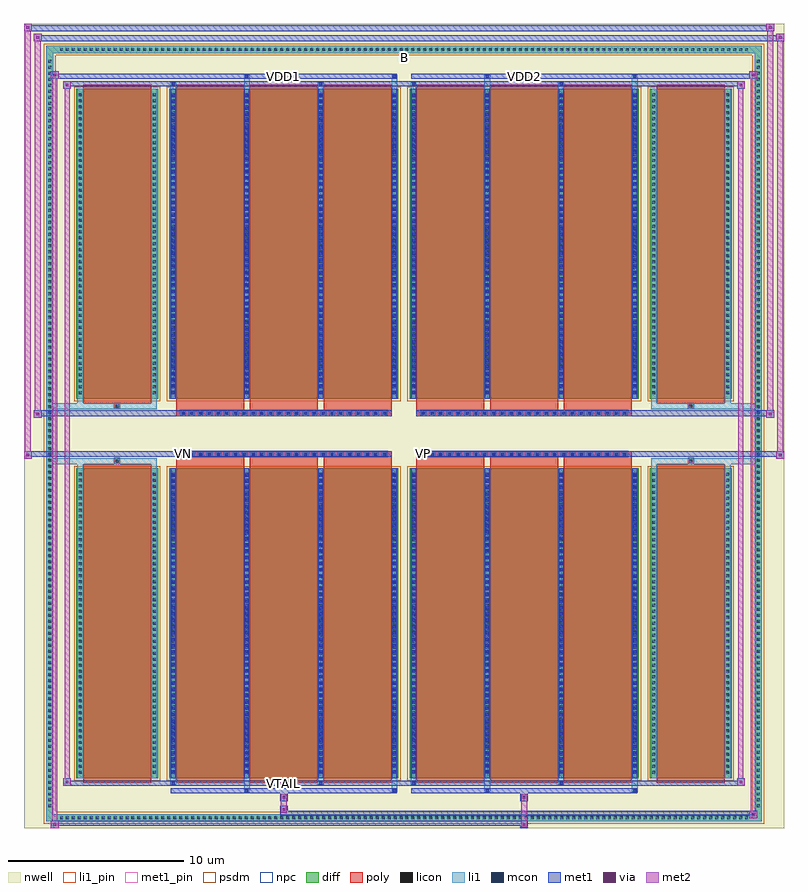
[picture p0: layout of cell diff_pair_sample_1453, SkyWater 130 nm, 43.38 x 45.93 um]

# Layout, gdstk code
import gdstk
lib = gdstk.Library(unit=1e-6, precision=5e-09)
def R(c, l, rs):  # rectangles x0, y0, x1, y1
    for r in rs: c.add(gdstk.rectangle(r[:2], r[2:], *l))
def A(c, l, x, y, w, h, nx, ny, dx, dy):  # array of equal rectangles
    R(c, l, [(x+i*dx, y+j*dy, x+i*dx+w, y+j*dy+h) for i in range(nx) for j in range(ny)])
def P(c, l, *ps):  # polygons
    for p in ps: c.add(gdstk.Polygon(p, *l))
nwell = (64, 20)
diff = (65, 20)
poly = (66, 20)
licon = (66, 44)
li1_pin = (67, 16)
li1 = (67, 20)
mcon = (67, 44)
met1_pin = (68, 16)
met1 = (68, 20)
via = (68, 44)
met2 = (69, 20)
psdm = (94, 20)
npc = (95, 20)

diff_pair_sample_1453 = lib.new_cell('diff_pair_sample_1453')
R(diff_pair_sample_1453, nwell, [(-21.69,-22.53,21.69,23.4), (-19.01,-20.72,-0.01,-0.8), (0.01,-20.72,19.01,-0.8), (-19.01,0.8,-0.01,20.72), (0.01,0.8,19.01,20.72)])
A(diff_pair_sample_1453, diff, -19.755, -22.13, 0.41, 0.41, 116, 2, 0.34, 43.85)
A(diff_pair_sample_1453, diff, -20.42, -21.455, 0.41, 0.41, 1, 126, 0, 0.34)
A(diff_pair_sample_1453, diff, 20.01, -21.455, 0.41, 0.41, 1, 126, 0, 0.34)
R(diff_pair_sample_1453, diff, [(-19.755,-22.13,19.755,-21.72), (-20.42,-21.455,-20.01,21.455), (20.01,-21.455,20.42,21.455), (-18.7,-19.675,-14.04,-1.985), (-13.4,-19.675,-0.32,-1.985), (0.32,-19.675,13.4,-1.985), (14.04,-19.675,18.7,-1.985), (-18.7,1.985,-14.04,19.675), (-13.4,1.985,-0.32,19.675), (0.32,1.985,13.4,19.675), (14.04,1.985,18.7,19.675), (-19.755,21.72,19.755,22.13)])
P(diff_pair_sample_1453, diff, [(20.42,22.13),(-20.42,22.13),(-20.42,-21.72),(-20.01,-21.72),(-20.01,21.72),(20.01,21.72),(20.01,-21.72),(-20.01,-21.72),(-20.42,-21.72),(-20.42,-22.13),(20.42,-22.13)])
A(diff_pair_sample_1453, poly, -13.01, -19.925, 3.88, 18.19, 3, 2, 4.21, 21.66)
A(diff_pair_sample_1453, poly, 0.71, -19.925, 3.88, 18.19, 3, 2, 4.21, 21.66)
A(diff_pair_sample_1453, poly, -13.01, -1.735, 3.88, 0.405, 3, 2, 4.21, 3.065)
A(diff_pair_sample_1453, poly, 0.71, -1.735, 3.88, 0.405, 3, 2, 4.21, 3.065)
A(diff_pair_sample_1453, poly, -12.775, -1.33, 0.33, 0.33, 24, 2, 0.5, 2.33)
A(diff_pair_sample_1453, poly, 0.945, -1.33, 0.33, 0.33, 24, 2, 0.5, 2.33)
R(diff_pair_sample_1453, poly, [(-18.31,-19.925,-14.43,-1.735), (14.43,-19.925,18.31,-1.735), (-16.535,-1.735,-16.205,-1.405), (-16.535,-1.735,-16.205,-1.405), (16.205,-1.735,16.535,-1.405), (16.205,-1.735,16.535,-1.405), (-13.01,-1.33,-0.71,-1), (0.71,-1.33,13.01,-1), (-13.01,1,-0.71,1.33), (0.71,1,13.01,1.33), (-16.535,1.405,-16.205,1.735), (-16.535,1.405,-16.205,1.735), (16.205,1.405,16.535,1.735), (16.205,1.405,16.535,1.735), (-18.31,1.735,-14.43,19.925), (14.43,1.735,18.31,19.925)])
A(diff_pair_sample_1453, licon, -19.635, -22.01, 0.17, 0.17, 116, 2, 0.34, 43.85)
A(diff_pair_sample_1453, licon, -20.3, -21.335, 0.17, 0.17, 1, 126, 0, 0.34)
A(diff_pair_sample_1453, licon, 20.13, -21.335, 0.17, 0.17, 1, 126, 0, 0.34)
A(diff_pair_sample_1453, licon, -18.56, -19.415, 0.17, 0.17, 1, 51, 0, 0.34)
A(diff_pair_sample_1453, licon, -14.35, -19.415, 0.17, 0.17, 1, 51, 0, 0.34)
A(diff_pair_sample_1453, licon, -13.26, -19.415, 0.17, 0.17, 4, 51, 4.21, 0.34)
A(diff_pair_sample_1453, licon, 0.46, -19.415, 0.17, 0.17, 4, 51, 4.21, 0.34)
A(diff_pair_sample_1453, licon, 14.18, -19.415, 0.17, 0.17, 1, 51, 0, 0.34)
A(diff_pair_sample_1453, licon, 18.39, -19.415, 0.17, 0.17, 1, 51, 0, 0.34)
A(diff_pair_sample_1453, licon, -12.695, -1.25, 0.17, 0.17, 24, 2, 0.5, 2.33)
A(diff_pair_sample_1453, licon, 1.025, -1.25, 0.17, 0.17, 24, 2, 0.5, 2.33)
A(diff_pair_sample_1453, licon, -18.56, 2.245, 0.17, 0.17, 1, 51, 0, 0.34)
A(diff_pair_sample_1453, licon, -14.35, 2.245, 0.17, 0.17, 1, 51, 0, 0.34)
A(diff_pair_sample_1453, licon, -13.26, 2.245, 0.17, 0.17, 4, 51, 4.21, 0.34)
A(diff_pair_sample_1453, licon, 0.46, 2.245, 0.17, 0.17, 4, 51, 4.21, 0.34)
A(diff_pair_sample_1453, licon, 14.18, 2.245, 0.17, 0.17, 1, 51, 0, 0.34)
A(diff_pair_sample_1453, licon, 18.39, 2.245, 0.17, 0.17, 1, 51, 0, 0.34)
R(diff_pair_sample_1453, licon, [(-16.455,-1.655,-16.285,-1.485), (16.285,-1.655,16.455,-1.485), (-16.455,1.485,-16.285,1.655), (16.285,1.485,16.455,1.655)])
R(diff_pair_sample_1453, li1_pin, [(-0.25,21.22,0.25,21.72)])
A(diff_pair_sample_1453, li1, -19.715, -22.09, 0.33, 0.33, 116, 2, 0.34, 43.85)
A(diff_pair_sample_1453, li1, -20.38, -21.415, 0.33, 0.33, 1, 126, 0, 0.34)
A(diff_pair_sample_1453, li1, 20.05, -21.415, 0.33, 0.33, 1, 126, 0, 0.34)
A(diff_pair_sample_1453, li1, -13.34, -19.675, 0.33, 17.69, 4, 2, 4.21, 21.66)
A(diff_pair_sample_1453, li1, 0.38, -19.675, 0.33, 17.69, 4, 2, 4.21, 21.66)
A(diff_pair_sample_1453, li1, -18.64, -19.495, 0.33, 0.33, 1, 51, 0, 0.34)
A(diff_pair_sample_1453, li1, -14.43, -19.495, 0.33, 0.33, 1, 51, 0, 0.34)
A(diff_pair_sample_1453, li1, -13.34, -19.495, 0.33, 0.33, 4, 51, 4.21, 0.34)
A(diff_pair_sample_1453, li1, 0.38, -19.495, 0.33, 0.33, 4, 51, 4.21, 0.34)
A(diff_pair_sample_1453, li1, 14.1, -19.495, 0.33, 0.33, 1, 51, 0, 0.34)
A(diff_pair_sample_1453, li1, 18.31, -19.495, 0.33, 0.33, 1, 51, 0, 0.34)
A(diff_pair_sample_1453, li1, -13.26, -19.375, 0.17, 0.17, 4, 48, 4.21, 0.36)
A(diff_pair_sample_1453, li1, -13.26, -19.375, 0.17, 17.09, 4, 2, 4.21, 21.66)
A(diff_pair_sample_1453, li1, 0.46, -19.375, 0.17, 0.17, 4, 48, 4.21, 0.36)
A(diff_pair_sample_1453, li1, 0.46, -19.375, 0.17, 17.09, 4, 2, 4.21, 21.66)
A(diff_pair_sample_1453, li1, -12.775, -1.33, 0.33, 0.33, 24, 2, 0.5, 2.33)
A(diff_pair_sample_1453, li1, 0.945, -1.33, 0.33, 0.33, 24, 2, 0.5, 2.33)
A(diff_pair_sample_1453, li1, -18.64, 2.165, 0.33, 0.33, 1, 51, 0, 0.34)
A(diff_pair_sample_1453, li1, -14.43, 2.165, 0.33, 0.33, 1, 51, 0, 0.34)
A(diff_pair_sample_1453, li1, -13.34, 2.165, 0.33, 0.33, 4, 51, 4.21, 0.34)
A(diff_pair_sample_1453, li1, 0.38, 2.165, 0.33, 0.33, 4, 51, 4.21, 0.34)
A(diff_pair_sample_1453, li1, 14.1, 2.165, 0.33, 0.33, 1, 51, 0, 0.34)
A(diff_pair_sample_1453, li1, 18.31, 2.165, 0.33, 0.33, 1, 51, 0, 0.34)
A(diff_pair_sample_1453, li1, -13.26, 2.285, 0.17, 0.17, 4, 48, 4.21, 0.36)
A(diff_pair_sample_1453, li1, 0.46, 2.285, 0.17, 0.17, 4, 48, 4.21, 0.36)
R(diff_pair_sample_1453, li1, [(-20.42,-22.13,-20.01,-21.72), (-20.42,-22.13,-20.01,-21.72), (-20.01,-22.13,20.01,-21.72), (20.01,-22.13,20.42,-21.72), (20.01,-22.13,20.42,-21.72), (-20.42,-21.72,-20.01,21.72), (20.01,-21.72,20.42,21.72), (-9.13,-20.48,-8.8,-19.675), (-9.05,-20.48,-8.88,-20.31), (-0.71,-20.48,-0.38,-19.675), (-0.63,-20.48,-0.46,-20.31), (4.59,-20.48,4.92,-19.675), (4.67,-20.48,4.84,-20.31), (13.01,-20.48,13.34,-19.675), (13.09,-20.48,13.26,-20.31), (-13.34,-20.05,-13.01,-19.675), (-13.26,-20.05,-13.09,-19.88), (-4.92,-20.05,-4.59,-19.675), (-4.84,-20.05,-4.67,-19.88), (0.38,-20.05,0.71,-19.675), (0.46,-20.05,0.63,-19.88), (8.8,-20.05,9.13,-19.675), (8.88,-20.05,9.05,-19.88), (-18.64,-19.675,-18.31,-1.985), (-14.43,-19.675,-14.1,-1.985), (14.1,-19.675,14.43,-1.985), (18.31,-19.675,18.64,-1.985), (-18.64,-1.985,-18.31,-1.405), (-14.43,-1.985,-14.1,-1.405), (14.1,-1.985,14.43,-1.405), (18.31,-1.985,18.64,-1.405), (-20.42,-1.735,-16.535,-1.405), (-18.64,-1.735,-16.535,-1.405), (-16.535,-1.735,-16.205,-1.405), (-16.205,-1.735,-14.1,-1.405), (14.1,-1.735,16.205,-1.405), (16.205,-1.735,16.535,-1.405), (16.205,-1.735,20.42,-1.405), (16.535,-1.735,18.64,-1.405), (-20.42,1.405,-16.535,1.735), (-18.64,1.405,-16.535,1.735), (-18.64,1.405,-18.31,1.985), (-16.535,1.405,-16.205,1.735), (-16.205,1.405,-14.1,1.735), (-14.43,1.405,-14.1,1.985), (14.1,1.405,16.205,1.735), (14.1,1.405,14.43,1.985), (16.205,1.405,16.535,1.735), (16.205,1.405,20.42,1.735), (16.535,1.405,18.64,1.735), (18.31,1.405,18.64,1.985), (-18.64,1.985,-18.31,19.675), (-14.43,1.985,-14.1,19.675), (14.1,1.985,14.43,19.675), (18.31,1.985,18.64,19.675), (-13.34,19.675,-13.01,20.05), (-9.13,19.675,-8.8,20.48), (-4.92,19.675,-4.59,20.05), (-0.71,19.675,-0.38,20.48), (0.38,19.675,0.71,20.05), (4.59,19.675,4.92,20.48), (8.8,19.675,9.13,20.05), (13.01,19.675,13.34,20.48), (-13.26,19.88,-13.09,20.05), (-4.84,19.88,-4.67,20.05), (0.46,19.88,0.63,20.05), (8.88,19.88,9.05,20.05), (-9.05,20.31,-8.88,20.48), (-0.63,20.31,-0.46,20.48), (4.67,20.31,4.84,20.48), (13.09,20.31,13.26,20.48), (-20.42,21.72,-20.01,22.13), (-20.42,21.72,-20.01,22.13), (-20.01,21.72,20.01,22.13), (20.01,21.72,20.42,22.13), (20.01,21.72,20.42,22.13)])
A(diff_pair_sample_1453, mcon, -13.26, -19.375, 0.17, 0.17, 4, 48, 4.21, 0.36)
A(diff_pair_sample_1453, mcon, 0.46, -19.375, 0.17, 0.17, 4, 48, 4.21, 0.36)
A(diff_pair_sample_1453, mcon, -12.695, -1.25, 0.17, 0.17, 24, 2, 0.5, 2.33)
A(diff_pair_sample_1453, mcon, 1.025, -1.25, 0.17, 0.17, 24, 2, 0.5, 2.33)
A(diff_pair_sample_1453, mcon, -13.26, 2.285, 0.17, 0.17, 4, 48, 4.21, 0.36)
A(diff_pair_sample_1453, mcon, 0.46, 2.285, 0.17, 0.17, 4, 48, 4.21, 0.36)
R(diff_pair_sample_1453, mcon, [(-9.05,-20.48,-8.88,-20.31), (-0.63,-20.48,-0.46,-20.31), (4.67,-20.48,4.84,-20.31), (13.09,-20.48,13.26,-20.31), (-13.26,-20.05,-13.09,-19.88), (-4.84,-20.05,-4.67,-19.88), (0.46,-20.05,0.63,-19.88), (8.88,-20.05,9.05,-19.88), (-13.26,19.88,-13.09,20.05), (-4.84,19.88,-4.67,20.05), (0.46,19.88,0.63,20.05), (8.88,19.88,9.05,20.05), (-9.05,20.31,-8.88,20.48), (-0.63,20.31,-0.46,20.48), (4.67,20.31,4.84,20.48), (13.09,20.31,13.26,20.48)])
R(diff_pair_sample_1453, met1_pin, [(-6.995,-20.09,-6.725,-19.82), (-12.745,-1.29,-12.475,-1.02), (0.975,-1.29,1.245,-1.02), (-6.995,20.27,-6.725,20.54), (6.725,20.27,6.995,20.54)])
A(diff_pair_sample_1453, met1, -13.32, -19.675, 0.29, 17.69, 4, 2, 4.21, 21.66)
A(diff_pair_sample_1453, met1, 0.4, -19.675, 0.29, 17.69, 4, 2, 4.21, 21.66)
A(diff_pair_sample_1453, met1, -13.32, -19.435, 0.29, 0.29, 4, 48, 4.21, 0.36)
A(diff_pair_sample_1453, met1, 0.4, -19.435, 0.29, 0.29, 4, 48, 4.21, 0.36)
A(diff_pair_sample_1453, met1, -12.755, -1.31, 0.29, 0.29, 24, 2, 0.5, 2.33)
A(diff_pair_sample_1453, met1, 0.965, -1.31, 0.29, 0.29, 24, 2, 0.5, 2.33)
A(diff_pair_sample_1453, met1, -13.32, 2.225, 0.29, 0.29, 4, 48, 4.21, 0.36)
A(diff_pair_sample_1453, met1, 0.4, 2.225, 0.29, 0.29, 4, 48, 4.21, 0.36)
R(diff_pair_sample_1453, met1, [(-20.15,-22.53,-19.72,-22.1), (6.645,-22.53,7.075,-22.1), (-20.15,-22.39,7.075,-22.1), (19.72,-21.96,20.15,-21.53), (-7.075,-21.82,20.15,-21.53), (-7.075,-21.68,-6.645,-21.25), (-7.075,-20.97,-6.645,-20.54), (6.645,-20.97,7.075,-20.54), (-13.32,-20.54,-0.4,-20.25), (-9.11,-20.54,-8.82,-20.25), (-0.69,-20.54,-0.4,-20.25), (0.4,-20.54,13.32,-20.25), (4.61,-20.54,4.9,-20.25), (13.03,-20.54,13.32,-20.25), (-19.44,-20.11,-19.01,-19.68), (-19.44,-20.11,-13.32,-19.82), (-13.32,-20.11,-13.03,-19.82), (-13.32,-20.11,-0.4,-19.82), (-4.9,-20.11,-4.61,-19.82), (-0.4,-20.11,0.4,-19.82), (0.4,-20.11,0.69,-19.82), (0.4,-20.11,13.32,-19.82), (8.82,-20.11,9.11,-19.82), (13.32,-20.11,19.44,-19.82), (19.01,-20.11,19.44,-19.68), (-21.69,-1.43,-21.26,-1), (21.26,-1.43,21.69,-1), (-21.69,-1.33,-0.71,-1), (-13.01,-1.33,-0.71,-1), (0.71,-1.33,13.01,-1), (0.71,-1.33,21.69,-1), (-21.12,0.9,-20.69,1.33), (20.69,0.9,21.12,1.33), (-21.12,1,-13.01,1.33), (-13.01,1,-0.71,1.33), (0.71,1,13.01,1.33), (13.01,1,21.12,1.33), (-19.44,19.68,-19.01,20.11), (19.01,19.68,19.44,20.11), (-19.44,19.82,-13.32,20.11), (-13.32,19.82,-13.03,20.11), (-13.32,19.82,-0.4,20.11), (-4.9,19.82,-4.61,20.11), (-0.4,19.82,0.4,20.11), (0.4,19.82,0.69,20.11), (0.4,19.82,13.32,20.11), (8.82,19.82,9.11,20.11), (13.32,19.82,19.44,20.11), (-20.15,20.25,-19.72,20.68), (-20.15,20.25,-13.32,20.54), (-13.32,20.25,-0.4,20.54), (-9.11,20.25,-8.82,20.54), (-0.69,20.25,-0.4,20.54), (0.4,20.25,13.32,20.54), (4.61,20.25,4.9,20.54), (13.03,20.25,13.32,20.54), (13.32,20.25,20.15,20.54), (19.72,20.25,20.15,20.68), (-21.12,22.4,-20.69,22.83), (-21.12,22.4,-19.01,22.73), (-19.01,22.4,19.01,22.73), (19.01,22.4,21.69,22.73), (21.26,22.4,21.69,22.83), (-21.69,22.97,-21.26,23.4), (-21.69,22.97,-19.01,23.3), (-19.01,22.97,19.01,23.3), (19.01,22.97,21.12,23.3), (20.69,22.97,21.12,23.4)])
R(diff_pair_sample_1453, via, [(-20.01,-22.39,-19.86,-22.24), (6.785,-22.39,6.935,-22.24), (19.86,-21.82,20.01,-21.67), (-6.935,-21.54,-6.785,-21.39), (-6.935,-20.83,-6.785,-20.68), (6.785,-20.83,6.935,-20.68), (-19.3,-19.97,-19.15,-19.82), (19.15,-19.97,19.3,-19.82), (-21.55,-1.29,-21.4,-1.14), (21.4,-1.29,21.55,-1.14), (-20.98,1.04,-20.83,1.19), (20.83,1.04,20.98,1.19), (-19.3,19.82,-19.15,19.97), (19.15,19.82,19.3,19.97), (-20.01,20.39,-19.86,20.54), (19.86,20.39,20.01,20.54), (-20.98,22.54,-20.83,22.69), (21.4,22.54,21.55,22.69), (-21.55,23.11,-21.4,23.26), (20.83,23.11,20.98,23.26)])
R(diff_pair_sample_1453, met2, [(-20.15,-22.53,-19.72,-22.1), (-20.08,-22.53,-19.79,20.68), (-19.79,-22.53,-19.72,-22.1), (-20.1,-22.48,-19.77,-22.15), (6.695,-22.48,7.025,-22.15), (6.695,-22.15,7.025,-20.92), (19.72,-21.96,20.15,-21.53), (19.79,-21.96,20.08,20.68), (20.08,-21.96,20.15,-21.53), (19.77,-21.91,20.1,-21.58), (-7.025,-21.63,-6.695,-21.3), (-7.025,-21.3,-6.695,-20.92), (-7.025,-20.92,-6.695,-20.59), (6.695,-20.92,7.025,-20.59), (-19.44,-20.11,-19.01,-19.68), (-19.37,-20.11,-19.08,20.11), (-19.08,-20.11,-19.01,-19.68), (19.01,-20.11,19.44,-19.68), (19.08,-20.11,19.37,20.11), (19.37,-20.11,19.44,-19.68), (-19.39,-20.06,-19.06,-19.73), (19.06,-20.06,19.39,-19.73), (-21.69,-1.43,-21.26,-1), (-21.64,-1.43,-21.31,23.4), (-21.31,-1.43,-21.26,-1), (21.26,-1.43,21.69,-1), (21.31,-1.43,21.64,22.83), (21.64,-1.43,21.69,-1), (-21.64,-1.38,-21.31,-1.05), (21.31,-1.38,21.64,-1.05), (-21.12,0.9,-20.69,1.33), (-21.07,0.9,-20.74,22.83), (-20.74,0.9,-20.69,1.33), (20.69,0.9,21.12,1.33), (20.74,0.9,21.07,23.4), (21.07,0.9,21.12,1.33), (-21.07,0.95,-20.74,1.28), (20.74,0.95,21.07,1.28), (-19.44,19.68,-19.01,20.11), (-19.08,19.68,-19.01,20.11), (19.01,19.68,19.44,20.11), (19.37,19.68,19.44,20.11), (-19.39,19.73,-19.06,20.06), (19.06,19.73,19.39,20.06), (-20.15,20.25,-19.72,20.68), (-19.79,20.25,-19.72,20.68), (19.72,20.25,20.15,20.68), (20.08,20.25,20.15,20.68), (-20.1,20.3,-19.77,20.63), (19.77,20.3,20.1,20.63), (-21.12,22.4,-20.69,22.83), (-20.74,22.4,-20.69,22.83), (21.26,22.4,21.69,22.83), (21.64,22.4,21.69,22.83), (-21.07,22.45,-20.74,22.78), (21.31,22.45,21.64,22.78), (-21.69,22.97,-21.26,23.4), (-21.31,22.97,-21.26,23.4), (20.69,22.97,21.12,23.4), (21.07,22.97,21.12,23.4), (-21.64,23.02,-21.31,23.35), (20.74,23.02,21.07,23.35)])
R(diff_pair_sample_1453, psdm, [(-18.83,-19.805,-13.91,-1.855), (-13.53,-19.805,-0.19,-1.855), (0.19,-19.805,13.53,-1.855), (13.91,-19.805,18.83,-1.855), (-18.83,1.855,-13.91,19.805), (-13.53,1.855,-0.19,19.805), (0.19,1.855,13.53,19.805), (13.91,1.855,18.83,19.805)])
P(diff_pair_sample_1453, psdm, [(20.55,22.26),(-20.55,22.26),(-20.55,-21.59),(-19.88,-21.59),(-19.88,21.59),(19.88,21.59),(19.88,-21.59),(-19.88,-21.59),(-20.55,-21.59),(-20.55,-22.26),(20.55,-22.26)])
A(diff_pair_sample_1453, npc, -12.795, -1.35, 0.37, 0.37, 24, 2, 0.5, 2.33)
A(diff_pair_sample_1453, npc, 0.925, -1.35, 0.37, 0.37, 24, 2, 0.5, 2.33)
R(diff_pair_sample_1453, npc, [(-16.555,-1.755,-16.185,-1.385), (16.185,-1.755,16.555,-1.385), (-12.795,-1.35,-11.925,-0.98), (-12.795,-1.35,-11.925,-0.98), (-12.295,-1.35,-11.425,-0.98), (-12.295,-1.35,-11.425,-0.98), (-11.795,-1.35,-10.925,-0.98), (-11.795,-1.35,-10.925,-0.98), (-11.295,-1.35,-10.425,-0.98), (-11.295,-1.35,-10.425,-0.98), (-10.795,-1.35,-9.925,-0.98), (-10.795,-1.35,-9.925,-0.98), (-10.295,-1.35,-9.425,-0.98), (-10.295,-1.35,-9.425,-0.98), (-9.795,-1.35,-8.925,-0.98), (-9.795,-1.35,-8.925,-0.98), (-9.295,-1.35,-8.425,-0.98), (-9.295,-1.35,-8.425,-0.98), (-8.795,-1.35,-7.925,-0.98), (-8.795,-1.35,-7.925,-0.98), (-8.295,-1.35,-7.425,-0.98), (-8.295,-1.35,-7.425,-0.98), (-7.795,-1.35,-6.925,-0.98), (-7.795,-1.35,-6.925,-0.98), (-7.295,-1.35,-6.425,-0.98), (-7.295,-1.35,-6.425,-0.98), (-6.795,-1.35,-5.925,-0.98), (-6.795,-1.35,-5.925,-0.98), (-6.295,-1.35,-5.425,-0.98), (-6.295,-1.35,-5.425,-0.98), (-5.795,-1.35,-4.925,-0.98), (-5.795,-1.35,-4.925,-0.98), (-5.295,-1.35,-4.425,-0.98), (-5.295,-1.35,-4.425,-0.98), (-4.795,-1.35,-3.925,-0.98), (-4.795,-1.35,-3.925,-0.98), (-4.295,-1.35,-3.425,-0.98), (-4.295,-1.35,-3.425,-0.98), (-3.795,-1.35,-2.925,-0.98), (-3.795,-1.35,-2.925,-0.98), (-3.295,-1.35,-2.425,-0.98), (-3.295,-1.35,-2.425,-0.98), (-2.795,-1.35,-1.925,-0.98), (-2.795,-1.35,-1.925,-0.98), (-2.295,-1.35,-1.425,-0.98), (-2.295,-1.35,-1.425,-0.98), (-1.795,-1.35,-0.925,-0.98), (-1.795,-1.35,-0.925,-0.98), (0.925,-1.35,1.795,-0.98), (0.925,-1.35,1.795,-0.98), (1.425,-1.35,2.295,-0.98), (1.425,-1.35,2.295,-0.98), (1.925,-1.35,2.795,-0.98), (1.925,-1.35,2.795,-0.98), (2.425,-1.35,3.295,-0.98), (2.425,-1.35,3.295,-0.98), (2.925,-1.35,3.795,-0.98), (2.925,-1.35,3.795,-0.98), (3.425,-1.35,4.295,-0.98), (3.425,-1.35,4.295,-0.98), (3.925,-1.35,4.795,-0.98), (3.925,-1.35,4.795,-0.98), (4.425,-1.35,5.295,-0.98), (4.425,-1.35,5.295,-0.98), (4.925,-1.35,5.795,-0.98), (4.925,-1.35,5.795,-0.98), (5.425,-1.35,6.295,-0.98), (5.425,-1.35,6.295,-0.98), (5.925,-1.35,6.795,-0.98), (5.925,-1.35,6.795,-0.98), (6.425,-1.35,7.295,-0.98), (6.425,-1.35,7.295,-0.98), (6.925,-1.35,7.795,-0.98), (6.925,-1.35,7.795,-0.98), (7.425,-1.35,8.295,-0.98), (7.425,-1.35,8.295,-0.98), (7.925,-1.35,8.795,-0.98), (7.925,-1.35,8.795,-0.98), (8.425,-1.35,9.295,-0.98), (8.425,-1.35,9.295,-0.98), (8.925,-1.35,9.795,-0.98), (8.925,-1.35,9.795,-0.98), (9.425,-1.35,10.295,-0.98), (9.425,-1.35,10.295,-0.98), (9.925,-1.35,10.795,-0.98), (9.925,-1.35,10.795,-0.98), (10.425,-1.35,11.295,-0.98), (10.425,-1.35,11.295,-0.98), (10.925,-1.35,11.795,-0.98), (10.925,-1.35,11.795,-0.98), (11.425,-1.35,12.295,-0.98), (11.425,-1.35,12.295,-0.98), (11.925,-1.35,12.795,-0.98), (11.925,-1.35,12.795,-0.98), (-12.795,0.98,-11.925,1.35), (-12.795,0.98,-11.925,1.35), (-12.295,0.98,-11.425,1.35), (-12.295,0.98,-11.425,1.35), (-11.795,0.98,-10.925,1.35), (-11.795,0.98,-10.925,1.35), (-11.295,0.98,-10.425,1.35), (-11.295,0.98,-10.425,1.35), (-10.795,0.98,-9.925,1.35), (-10.795,0.98,-9.925,1.35), (-10.295,0.98,-9.425,1.35), (-10.295,0.98,-9.425,1.35), (-9.795,0.98,-8.925,1.35), (-9.795,0.98,-8.925,1.35), (-9.295,0.98,-8.425,1.35), (-9.295,0.98,-8.425,1.35), (-8.795,0.98,-7.925,1.35), (-8.795,0.98,-7.925,1.35), (-8.295,0.98,-7.425,1.35), (-8.295,0.98,-7.425,1.35), (-7.795,0.98,-6.925,1.35), (-7.795,0.98,-6.925,1.35), (-7.295,0.98,-6.425,1.35), (-7.295,0.98,-6.425,1.35), (-6.795,0.98,-5.925,1.35), (-6.795,0.98,-5.925,1.35), (-6.295,0.98,-5.425,1.35), (-6.295,0.98,-5.425,1.35), (-5.795,0.98,-4.925,1.35), (-5.795,0.98,-4.925,1.35), (-5.295,0.98,-4.425,1.35), (-5.295,0.98,-4.425,1.35), (-4.795,0.98,-3.925,1.35), (-4.795,0.98,-3.925,1.35), (-4.295,0.98,-3.425,1.35), (-4.295,0.98,-3.425,1.35), (-3.795,0.98,-2.925,1.35), (-3.795,0.98,-2.925,1.35), (-3.295,0.98,-2.425,1.35), (-3.295,0.98,-2.425,1.35), (-2.795,0.98,-1.925,1.35), (-2.795,0.98,-1.925,1.35), (-2.295,0.98,-1.425,1.35), (-2.295,0.98,-1.425,1.35), (-1.795,0.98,-0.925,1.35), (-1.795,0.98,-0.925,1.35), (0.925,0.98,1.795,1.35), (0.925,0.98,1.795,1.35), (1.425,0.98,2.295,1.35), (1.425,0.98,2.295,1.35), (1.925,0.98,2.795,1.35), (1.925,0.98,2.795,1.35), (2.425,0.98,3.295,1.35), (2.425,0.98,3.295,1.35), (2.925,0.98,3.795,1.35), (2.925,0.98,3.795,1.35), (3.425,0.98,4.295,1.35), (3.425,0.98,4.295,1.35), (3.925,0.98,4.795,1.35), (3.925,0.98,4.795,1.35), (4.425,0.98,5.295,1.35), (4.425,0.98,5.295,1.35), (4.925,0.98,5.795,1.35), (4.925,0.98,5.795,1.35), (5.425,0.98,6.295,1.35), (5.425,0.98,6.295,1.35), (5.925,0.98,6.795,1.35), (5.925,0.98,6.795,1.35), (6.425,0.98,7.295,1.35), (6.425,0.98,7.295,1.35), (6.925,0.98,7.795,1.35), (6.925,0.98,7.795,1.35), (7.425,0.98,8.295,1.35), (7.425,0.98,8.295,1.35), (7.925,0.98,8.795,1.35), (7.925,0.98,8.795,1.35), (8.425,0.98,9.295,1.35), (8.425,0.98,9.295,1.35), (8.925,0.98,9.795,1.35), (8.925,0.98,9.795,1.35), (9.425,0.98,10.295,1.35), (9.425,0.98,10.295,1.35), (9.925,0.98,10.795,1.35), (9.925,0.98,10.795,1.35), (10.425,0.98,11.295,1.35), (10.425,0.98,11.295,1.35), (10.925,0.98,11.795,1.35), (10.925,0.98,11.795,1.35), (11.425,0.98,12.295,1.35), (11.425,0.98,12.295,1.35), (11.925,0.98,12.795,1.35), (11.925,0.98,12.795,1.35), (-16.555,1.385,-16.185,1.755), (16.185,1.385,16.555,1.755)])
diff_pair_sample_1453.add(gdstk.Label('VTAIL', (-6.86,-19.955), layer=68, texttype=5))
diff_pair_sample_1453.add(gdstk.Label('VN', (-12.61,-1.155), layer=68, texttype=5))
diff_pair_sample_1453.add(gdstk.Label('VP', (1.11,-1.155), layer=68, texttype=5))
diff_pair_sample_1453.add(gdstk.Label('B', (0,21.47), layer=67, texttype=5))
diff_pair_sample_1453.add(gdstk.Label('VDD2', (6.86,20.405), layer=68, texttype=5))
diff_pair_sample_1453.add(gdstk.Label('VDD1', (-6.86,20.405), layer=68, texttype=5))

lib.write_gds('diff_pair_sample_1453.gds')
